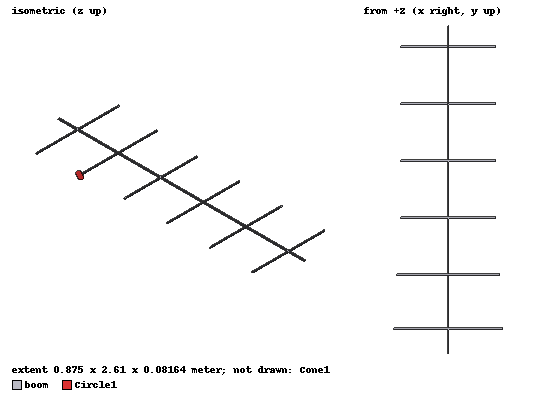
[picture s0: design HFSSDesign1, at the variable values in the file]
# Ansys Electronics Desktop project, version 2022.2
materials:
  vacuum: permittivity=1
  aluminum: permeability=1.000021 conductivity=38000000

design HFSSDesign1 (HFSS, DrivenModal, model units meter)
options: Calculate_Lossy_Dielectrics Save_Adaptive_support_files
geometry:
  boom [aluminum] = cylinder(axis=Y, base_centre=(0meter, 0meter, 0meter), radius=0.0076meter, height=2.61meter)
  reflector = cylinder(axis=X, base_centre=(-0.4375meter, 0.2meter, 0meter), radius=0.0076meter, height=0.875meter)
  dipole = cylinder(axis=X, base_centre=(-0.408meter, 0.63meter, 0meter), radius=0.0076meter, height=0.8163meter)
  director1 = cylinder(axis=X, base_centre=(-0.3819meter, 1.0825meter, 0meter), radius=0.0076meter, height=0.7638meter)
  director2 = cylinder(axis=X, base_centre=(-0.3819meter, 1.535meter, 0meter), radius=0.0076meter, height=0.7638meter)
  director3 = cylinder(axis=X, base_centre=(-0.3819meter, 1.9875meter, 0meter), radius=0.0076meter, height=0.7638meter)
  director4 = cylinder(axis=X, base_centre=(-0.3819meter, 2.44meter, 0meter), radius=0.0076meter, height=0.7638meter)
  boom.unite(dipole, director1..director4, reflector)
  Circle1 = circle(normal=X, centre=(0.4083meter, 0.63meter, 0meter), radius=0.04082meter)
  Cone1 [vacuum] = cone(axis=Y, base_centre=(0meter, -0.4525meter, 0meter), bottom_radius=1meter, top_radius=2meter, height=5.0625meter)
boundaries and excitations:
  Rad1: Radiation Objects=Cone1
  1: Lumped Port Objects=Circle1 Modes{Mode1{IntLine{(0.4083, 0.63, -0.04082) -> (0.4083, 0.63, 0.04082)} CharImp=Zpi RenormImp=50ohm}} Impedance=50ohm
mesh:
  initial mesh: GlobalSurfApproximation{CurvedSurfaceApproxChoice=UseSlider SliderMeshSettings=1}
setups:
  Setup1: HfssDriven Frequency=165MHz MaxDeltaS=0.02 MaximumPasses=15 MinimumPasses=1 MinimumConvergedPasses=1 PercentRefinement=30 BasisOrder=1 PortAccuracy=2 DrivenSolverType="Direct Solver"
    sweep Sweep: 100MHz to 200MHz step 0.1MHz; Type=Fast SaveFields
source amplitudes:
  1:1: 1W 0deg
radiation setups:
  Infinite Sphere1: Infinite Sphere Theta=-180deg..180deg step 10deg Phi=0deg..90deg step 90deg
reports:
  S Parameter Plot 1: dB(S(1,1)) vs Freq on Setup1 : Sweep
